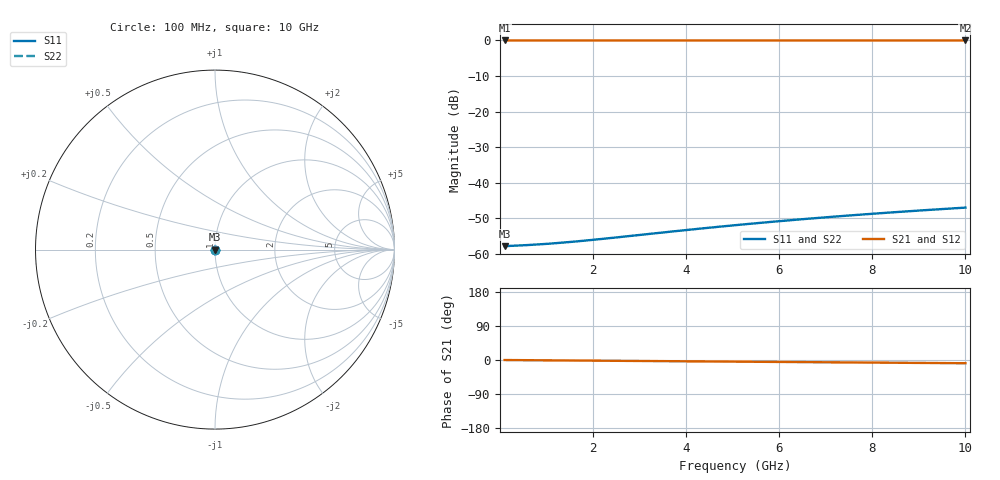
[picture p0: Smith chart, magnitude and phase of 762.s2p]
# Hz S RI R 50.00
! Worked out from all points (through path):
!   100 points, 100 MHz to 10 GHz, reference 50 ohm
!   highest |S21| = -0.01 dB at 100 MHz (marker M1); lowest = 0.0 dB at 10 GHz (marker M2)
!   group delay of S21, straight-line fit = 2.37 ps
!   lowest |S11| = -57.9 dB at 100 MHz (marker M3), VSWR 1.00, Z = 50.1 - j0.00438 ohm
!   |S11| at or under -10 dB: start of sweep to end of sweep
!   |S22| runs from -57.9 to -47.0 dB; largest |S21 - S12| = 0
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1e8  0.00128 -4.37e-05  0.9987 -0.00149  0.9987 -0.00149  0.00128 -4.37e-05
6e8  0.0013 -0.000263  0.9987 -0.00892  0.9987 -0.00892  0.0013 -0.000263
8e8  0.0013 -0.00035  0.9986 -0.0119  0.9986 -0.0119  0.0013 -0.00035
1e9  0.0013 -0.000438  0.9986 -0.0149  0.9986 -0.0149  0.0013 -0.000438
1.2e9  0.0013 -0.000526  0.9985 -0.0178  0.9985 -0.0178  0.0013 -0.000526
1.4e9  0.0013 -0.000613  0.9984 -0.0208  0.9984 -0.0208  0.0013 -0.000613
1.8e9  0.0013 -0.000789  0.9983 -0.0268  0.9983 -0.0268  0.0013 -0.000789
2.1e9  0.0013 -0.00092  0.9982 -0.0312  0.9982 -0.0312  0.0013 -0.00092
2.4e9  0.00129 -0.00105  0.998 -0.0357  0.998 -0.0357  0.00129 -0.00105
3.4e9  0.00127 -0.00149  0.9973 -0.0505  0.9973 -0.0505  0.00127 -0.00149
4.3e9  0.00123 -0.00189  0.9965 -0.0639  0.9965 -0.0639  0.00123 -0.00189
4.7e9  0.00121 -0.00206  0.9961 -0.0699  0.9961 -0.0699  0.00121 -0.00206
5.1e9  0.00119 -0.00224  0.9957 -0.0758  0.9957 -0.0758  0.00119 -0.00224
5.5e9  0.00116 -0.00242  0.9952 -0.0817  0.9952 -0.0817  0.00116 -0.00242
5.9e9  0.00114 -0.00259  0.9947 -0.0877  0.9947 -0.0877  0.00114 -0.00259
6.3e9  0.00111 -0.00277  0.9941 -0.0936  0.9941 -0.0936  0.00111 -0.00277
6.7e9  0.00108 -0.00294  0.9936 -0.0995  0.9936 -0.0995  0.00108 -0.00294
7.5e9  0.00101 -0.00329  0.9923 -0.1114  0.9923 -0.1114  0.00101 -0.00329
7.9e9  0.000971 -0.00347  0.9916 -0.1173  0.9916 -0.1173  0.000971 -0.00347
8.4e9  0.000922 -0.00369  0.9907 -0.1247  0.9907 -0.1247  0.000922 -0.00369
9.2e9  0.000837 -0.00404  0.9891 -0.1365  0.9891 -0.1365  0.000837 -0.00404
1e10  0.000743 -0.00439  0.9874 -0.1483  0.9874 -0.1483  0.000743 -0.00439
